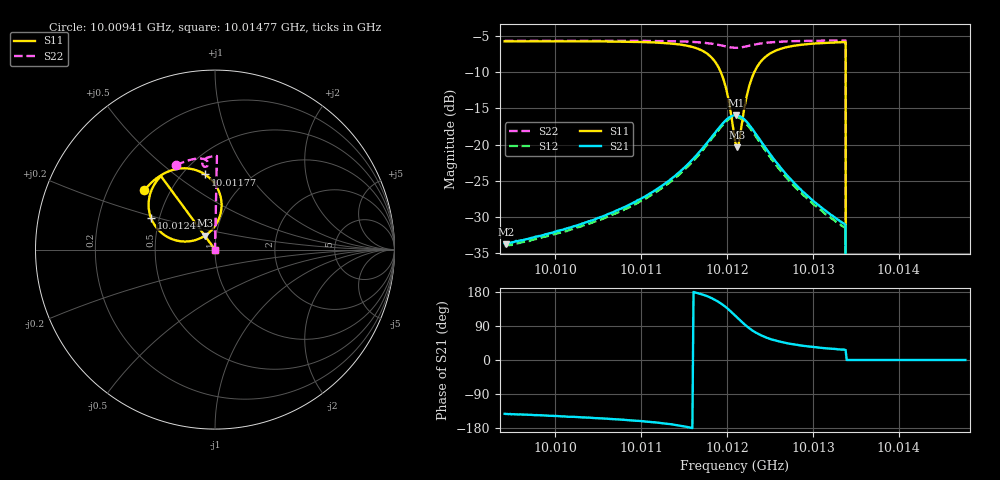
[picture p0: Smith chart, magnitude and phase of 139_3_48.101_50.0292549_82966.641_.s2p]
#  HZ  S  RI  R  50.00
! Rohde & Schwarz Vector Network Analyzer
! Rohde-Schwarz,ZNB20-2Port,1311601062101988,3.16
! Created: UTC 12/23/2023, 3:48:34 AM
! freq[Hz]  re:S11  im:S11  re:S21  im:S21  re:S12  im:S12  re:S22  im:S22
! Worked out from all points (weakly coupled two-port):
!   401 points, 10.00941 GHz to 10.01477 GHz, reference 50 ohm
!   highest |S21| = -15.95 dB at 10.01211 GHz (marker M1); lowest = -33.7 dB at 10.00943 GHz (marker M2)
!   lowest |S11| = -20.4 dB at 10.01212 GHz (marker M3), VSWR 1.21, Z = 44.2 + j6.94 ohm
!   |S11| at or under -10 dB: 10.01193 GHz to 10.01232 GHz (391.5 kHz wide, 0.00391 % of centre); 10.01338 GHz to end of sweep
!   |S22| runs from - to -5.7 dB; largest |S21 - S12| = 0.0084
!   S11 on the Smith chart (normalised r, x): 10.00941 GHz: 0.36, +0.32; 10.01177 GHz: 0.64, +0.65; 10.01244 GHz: 0.45, +0.19; 10.01477 GHz: 1.00, +0.00
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1.0009413e10  -0.3953 0.3295  -0.0164 -0.0128  -0.0151 -0.013  -0.2168 0.4702
1.0009426e10  -0.3946 0.3303  -0.0163 -0.0126  -0.0152 -0.013  -0.2159 0.4708
1.0010311e10  -0.3404 0.3857  -0.025 -0.0137  -0.0234 -0.0143  -0.161 0.493
1.0011209e10  -0.2397 0.4425  -0.0488 -0.0124  -0.0464 -0.0144  -0.0984 0.5071
1.0011531e10  -0.1608 0.4529  -0.0714 -0.00445  -0.0688 -0.00791  -0.0712 0.507
1.0011772e10  -0.0554 0.4184  -0.1011 0.021  -0.099 0.0154  -0.0483 0.498
1.0011879e10  0.0036 0.3592  -0.114 0.0499  -0.1133 0.0427  -0.04 0.4877
1.0011959e10  0.0343 0.2793  -0.1153 0.082  -0.1161 0.075  -0.0379 0.4767
1.0012013e10  0.0328 0.2086  -0.1065 0.1082  -0.1087 0.1008  -0.0403 0.469
1.0012094e10  -0.0233 0.104  -0.0735 0.1415  -0.0773 0.1346  -0.0504 0.4617
1.0012107e10  -0.039 0.0898  -0.0662 0.145  -0.0697 0.1386  -0.0526 0.4613
1.001212e10  -0.0558 0.0777  -0.0584 0.1478  -0.0621 0.1417  -0.0548 0.4613
1.0012147e10  -0.0929 0.0587  -0.0432 0.151  -0.0463 0.1453  -0.0592 0.4621
1.0012201e10  -0.1707 0.0449  -0.0124 0.1487  -0.0167 0.1432  -0.0662 0.467
1.0012281e10  -0.2686 0.0724  0.0224 0.1296  0.0172 0.1254  -0.0706 0.4781
1.0012442e10  -0.3573 0.1784  0.0472 0.0837  0.0417 0.0817  -0.0639 0.4975
1.001267e10  -0.3671 0.2856  0.045 0.0459  0.0409 0.0457  -0.0447 0.5113
1.0012992e10  -0.3386 0.362  0.0342 0.0237  0.0313 0.0241  -0.0182 0.5187
1.0013353e10  -0.3038 0.4072  0.0254 0.0133  0.0235 0.0136  0.00882 0.5213
1.001342e10  0 0  0 0  0 0  0 0
1.001389e10  0 0  0 0  0 0  0 0
1.0014774e10  0 0  0 0  0 0  0 0
